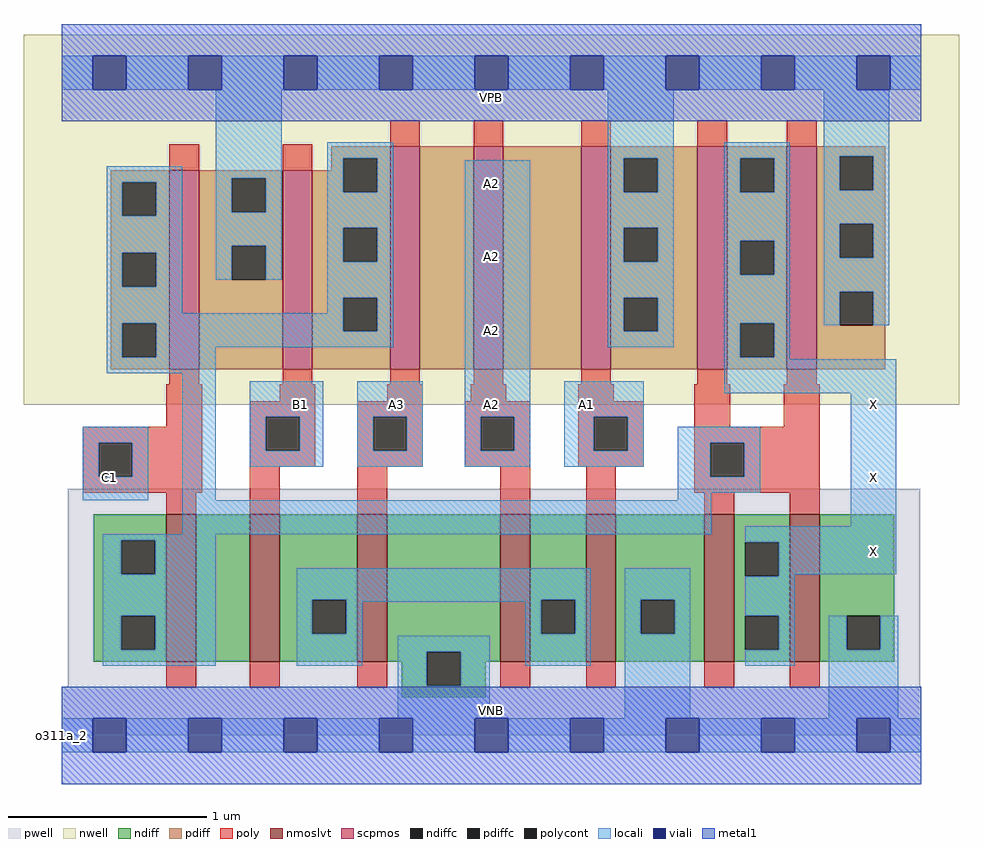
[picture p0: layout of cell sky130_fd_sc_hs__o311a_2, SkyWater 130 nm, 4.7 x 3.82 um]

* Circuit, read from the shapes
.subckt sky130_fd_sc_hs__o311a_2 A1 A2 A3 B1 C1 VGND VNB VPB VPWR X
XM1 n1 C1 n2 VNB sky130_fd_pr__nfet_01v8_lvt w=0.74 l=0.15
XM2 n3 B1 n1 VNB sky130_fd_pr__nfet_01v8_lvt w=0.74 l=0.15
XM3 VGND A3 n3 VNB sky130_fd_pr__nfet_01v8_lvt w=0.74 l=0.15
XM4 n3 A2 VGND VNB sky130_fd_pr__nfet_01v8_lvt w=0.74 l=0.15
XM5 VGND A1 n3 VNB sky130_fd_pr__nfet_01v8_lvt w=0.74 l=0.15
XM6 X n2 VGND VNB sky130_fd_pr__nfet_01v8_lvt w=0.74 l=0.15 m=2
XM7 VPWR C1 n2 VPB sky130_fd_pr__pfet_01v8 w=1 l=0.15
XM8 n2 B1 VPWR VPB sky130_fd_pr__pfet_01v8 w=1 l=0.15
XM9 n4 A3 n2 VPB sky130_fd_pr__pfet_01v8 w=1.12 l=0.15
XM10 n5 A2 n4 VPB sky130_fd_pr__pfet_01v8 w=1.12 l=0.15
XM11 VPWR A1 n5 VPB sky130_fd_pr__pfet_01v8 w=1.12 l=0.15
XM12 X n2 VPWR VPB sky130_fd_pr__pfet_01v8 w=1.12 l=0.15 m=2
.ends

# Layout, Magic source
magic
tech sky130A
magscale 1 2
<< nwell >>
rect -38 332 902 704
<< pwell >>
rect 6 49 863 248
rect 0 0 864 49
<< scpmos >>
rect 108 368 138 568
rect 222 368 252 568
rect 330 368 360 592
rect 414 368 444 592
rect 522 368 552 592
rect 639 368 669 592
rect 729 368 759 592
<< nmoslvt >>
rect 105 74 135 222
rect 189 74 219 222
rect 297 74 327 222
rect 441 74 471 222
rect 527 74 557 222
rect 646 74 676 222
rect 732 74 762 222
<< ndiff >>
rect 32 196 105 222
rect 32 162 60 196
rect 94 162 105 196
rect 32 120 105 162
rect 32 86 60 120
rect 94 86 105 120
rect 32 74 105 86
rect 135 74 189 222
rect 219 136 297 222
rect 219 102 252 136
rect 286 102 297 136
rect 219 74 297 102
rect 327 84 441 222
rect 327 74 367 84
rect 342 50 367 74
rect 401 74 441 84
rect 471 136 527 222
rect 471 102 482 136
rect 516 102 527 136
rect 471 74 527 102
rect 557 136 646 222
rect 557 102 582 136
rect 616 102 646 136
rect 557 74 646 102
rect 676 194 732 222
rect 676 160 687 194
rect 721 160 732 194
rect 676 120 732 160
rect 676 86 687 120
rect 721 86 732 120
rect 676 74 732 86
rect 762 120 837 222
rect 762 86 789 120
rect 823 86 837 120
rect 762 74 837 86
rect 401 50 426 74
rect 342 38 426 50
<< pdiff >>
rect 271 580 330 592
rect 271 568 283 580
rect 49 556 108 568
rect 49 522 61 556
rect 95 522 108 556
rect 49 485 108 522
rect 49 451 61 485
rect 95 451 108 485
rect 49 414 108 451
rect 49 380 61 414
rect 95 380 108 414
rect 49 368 108 380
rect 138 560 222 568
rect 138 526 171 560
rect 205 526 222 560
rect 138 492 222 526
rect 138 458 171 492
rect 205 458 222 492
rect 138 368 222 458
rect 252 546 283 568
rect 317 546 330 580
rect 252 510 330 546
rect 252 476 283 510
rect 317 476 330 510
rect 252 440 330 476
rect 252 406 283 440
rect 317 406 330 440
rect 252 368 330 406
rect 360 368 414 592
rect 444 368 522 592
rect 552 580 639 592
rect 552 546 565 580
rect 599 546 639 580
rect 552 510 639 546
rect 552 476 565 510
rect 599 476 639 510
rect 552 440 639 476
rect 552 406 565 440
rect 599 406 639 440
rect 552 368 639 406
rect 669 580 729 592
rect 669 546 682 580
rect 716 546 729 580
rect 669 497 729 546
rect 669 463 682 497
rect 716 463 729 497
rect 669 414 729 463
rect 669 380 682 414
rect 716 380 729 414
rect 669 368 729 380
rect 759 582 828 592
rect 759 548 782 582
rect 816 548 828 582
rect 759 514 828 548
rect 759 480 782 514
rect 816 480 828 514
rect 759 446 828 480
rect 759 412 782 446
rect 816 412 828 446
rect 759 368 828 412
<< ndiffc >>
rect 60 162 94 196
rect 60 86 94 120
rect 252 102 286 136
rect 367 50 401 84
rect 482 102 516 136
rect 582 102 616 136
rect 687 160 721 194
rect 687 86 721 120
rect 789 86 823 120
<< pdiffc >>
rect 61 522 95 556
rect 61 451 95 485
rect 61 380 95 414
rect 171 526 205 560
rect 171 458 205 492
rect 283 546 317 580
rect 283 476 317 510
rect 283 406 317 440
rect 565 546 599 580
rect 565 476 599 510
rect 565 406 599 440
rect 682 546 716 580
rect 682 463 716 497
rect 682 380 716 414
rect 782 548 816 582
rect 782 480 816 514
rect 782 412 816 446
<< poly >>
rect 108 568 138 594
rect 222 568 252 594
rect 330 592 360 618
rect 414 592 444 618
rect 522 592 552 618
rect 639 592 669 618
rect 729 592 759 618
rect 108 353 138 368
rect 222 353 252 368
rect 330 353 360 368
rect 414 353 444 368
rect 522 353 552 368
rect 639 353 669 368
rect 729 353 759 368
rect 105 310 141 353
rect 219 336 255 353
rect 327 336 363 353
rect 411 336 447 353
rect 519 336 555 353
rect 21 294 141 310
rect 21 260 37 294
rect 71 260 141 294
rect 21 244 141 260
rect 189 320 255 336
rect 189 286 205 320
rect 239 286 255 320
rect 189 270 255 286
rect 297 320 363 336
rect 297 286 313 320
rect 347 286 363 320
rect 297 270 363 286
rect 405 320 471 336
rect 405 286 421 320
rect 455 286 471 320
rect 405 270 471 286
rect 519 320 585 336
rect 519 286 535 320
rect 569 286 585 320
rect 519 270 585 286
rect 636 310 672 353
rect 726 310 762 353
rect 636 294 762 310
rect 105 222 135 244
rect 189 222 219 270
rect 297 222 327 270
rect 441 222 471 270
rect 527 222 557 270
rect 636 260 652 294
rect 686 260 762 294
rect 636 244 762 260
rect 646 222 676 244
rect 732 222 762 244
rect 105 48 135 74
rect 189 48 219 74
rect 297 48 327 74
rect 441 48 471 74
rect 527 48 557 74
rect 646 48 676 74
rect 732 48 762 74
<< polycont >>
rect 37 260 71 294
rect 205 286 239 320
rect 313 286 347 320
rect 421 286 455 320
rect 535 286 569 320
rect 652 260 686 294
<< locali >>
rect 0 649 31 683
rect 65 649 127 683
rect 161 649 223 683
rect 257 649 319 683
rect 353 649 415 683
rect 449 649 511 683
rect 545 649 607 683
rect 641 649 703 683
rect 737 649 799 683
rect 833 649 864 683
rect 45 556 121 572
rect 45 522 61 556
rect 95 522 121 556
rect 45 485 121 522
rect 45 451 61 485
rect 95 451 121 485
rect 155 560 221 649
rect 155 526 171 560
rect 205 526 221 560
rect 155 492 221 526
rect 155 458 171 492
rect 205 458 221 492
rect 267 580 333 596
rect 267 546 283 580
rect 317 546 333 580
rect 549 580 615 649
rect 267 510 333 546
rect 267 476 283 510
rect 317 476 333 510
rect 45 424 121 451
rect 267 440 333 476
rect 267 424 283 440
rect 45 414 283 424
rect 45 380 61 414
rect 95 406 283 414
rect 317 406 333 440
rect 95 390 333 406
rect 95 380 155 390
rect 45 364 155 380
rect 21 294 87 310
rect 21 260 37 294
rect 71 260 87 294
rect 21 236 87 260
rect 121 236 155 364
rect 189 320 263 356
rect 189 286 205 320
rect 239 286 263 320
rect 189 270 263 286
rect 297 320 363 356
rect 297 286 313 320
rect 347 286 363 320
rect 297 270 363 286
rect 405 320 471 578
rect 549 546 565 580
rect 599 546 615 580
rect 549 510 615 546
rect 549 476 565 510
rect 599 476 615 510
rect 549 440 615 476
rect 549 406 565 440
rect 599 406 615 440
rect 549 390 615 406
rect 666 580 732 596
rect 666 546 682 580
rect 716 546 732 580
rect 666 497 732 546
rect 666 463 682 497
rect 716 463 732 497
rect 666 414 732 463
rect 666 380 682 414
rect 716 380 732 414
rect 766 582 832 649
rect 766 548 782 582
rect 816 548 832 582
rect 766 514 832 548
rect 766 480 782 514
rect 816 480 832 514
rect 766 446 832 480
rect 766 412 782 446
rect 816 412 832 446
rect 666 378 732 380
rect 405 286 421 320
rect 455 286 471 320
rect 405 270 471 286
rect 505 320 585 356
rect 666 344 839 378
rect 505 286 535 320
rect 569 286 585 320
rect 505 270 585 286
rect 619 294 702 310
rect 619 260 652 294
rect 686 260 702 294
rect 619 244 702 260
rect 619 236 653 244
rect 121 202 653 236
rect 793 210 839 344
rect 41 196 155 202
rect 41 162 60 196
rect 94 162 155 196
rect 687 194 839 210
rect 41 120 155 162
rect 41 86 60 120
rect 94 86 155 120
rect 41 70 155 86
rect 236 136 532 168
rect 236 102 252 136
rect 286 134 482 136
rect 286 102 302 134
rect 236 70 302 102
rect 466 102 482 134
rect 516 102 532 136
rect 338 84 430 100
rect 338 50 367 84
rect 401 50 430 84
rect 466 70 532 102
rect 566 136 632 168
rect 566 102 582 136
rect 616 102 632 136
rect 338 17 430 50
rect 566 17 632 102
rect 721 162 839 194
rect 721 160 737 162
rect 687 120 737 160
rect 721 86 737 120
rect 687 70 737 86
rect 771 86 789 120
rect 823 86 841 120
rect 771 17 841 86
rect 0 -17 31 17
rect 65 -17 127 17
rect 161 -17 223 17
rect 257 -17 319 17
rect 353 -17 415 17
rect 449 -17 511 17
rect 545 -17 607 17
rect 641 -17 703 17
rect 737 -17 799 17
rect 833 -17 864 17
<< viali >>
rect 31 649 65 683
rect 127 649 161 683
rect 223 649 257 683
rect 319 649 353 683
rect 415 649 449 683
rect 511 649 545 683
rect 607 649 641 683
rect 703 649 737 683
rect 799 649 833 683
rect 31 -17 65 17
rect 127 -17 161 17
rect 223 -17 257 17
rect 319 -17 353 17
rect 415 -17 449 17
rect 511 -17 545 17
rect 607 -17 641 17
rect 703 -17 737 17
rect 799 -17 833 17
<< metal1 >>
rect 0 683 864 715
rect 0 649 31 683
rect 65 649 127 683
rect 161 649 223 683
rect 257 649 319 683
rect 353 649 415 683
rect 449 649 511 683
rect 545 649 607 683
rect 641 649 703 683
rect 737 649 799 683
rect 833 649 864 683
rect 0 617 864 649
rect 0 17 864 49
rect 0 -17 31 17
rect 65 -17 127 17
rect 161 -17 223 17
rect 257 -17 319 17
rect 353 -17 415 17
rect 449 -17 511 17
rect 545 -17 607 17
rect 641 -17 703 17
rect 737 -17 799 17
rect 833 -17 864 17
rect 0 -49 864 -17
<< labels >>
rlabel comment s 0 0 0 0 4 o311a_2
flabel pwell s 0 0 864 49 0 FreeSans 200 0 0 0 VNB
port 7 nsew ground bidirectional
flabel nwell s 0 617 864 666 0 FreeSans 200 0 0 0 VPB
port 8 nsew power bidirectional
flabel metal1 s 0 617 864 666 0 FreeSans 340 0 0 0 VPWR
port 9 nsew power bidirectional
flabel metal1 s 0 0 864 49 0 FreeSans 340 0 0 0 VGND
port 6 nsew ground bidirectional
flabel locali s 799 168 833 202 0 FreeSans 340 0 0 0 X
port 10 nsew signal output
flabel locali s 799 242 833 276 0 FreeSans 340 0 0 0 X
port 10 nsew signal output
flabel locali s 799 316 833 350 0 FreeSans 340 0 0 0 X
port 10 nsew signal output
flabel locali s 511 316 545 350 0 FreeSans 340 0 0 0 A1
port 1 nsew signal input
flabel locali s 415 316 449 350 0 FreeSans 340 0 0 0 A2
port 2 nsew signal input
flabel locali s 415 390 449 424 0 FreeSans 340 0 0 0 A2
port 2 nsew signal input
flabel locali s 415 464 449 498 0 FreeSans 340 0 0 0 A2
port 2 nsew signal input
flabel locali s 415 538 449 572 0 FreeSans 340 0 0 0 A2
port 2 nsew signal input
flabel locali s 319 316 353 350 0 FreeSans 340 0 0 0 A3
port 3 nsew signal input
flabel locali s 223 316 257 350 0 FreeSans 340 0 0 0 B1
port 4 nsew signal input
flabel locali s 31 242 65 276 0 FreeSans 340 0 0 0 C1
port 5 nsew signal input
<< properties >>
string LEFsite unit
string LEFclass CORE
string FIXED_BBOX 0 0 864 666
string GDS_FILE $PDKPATH/libs.ref/sky130_fd_sc_hs/gds/sky130_fd_sc_hs.gds
string LEFsymmetry X Y
string GDS_END 2445826
string GDS_START 2437850
<< end >>
